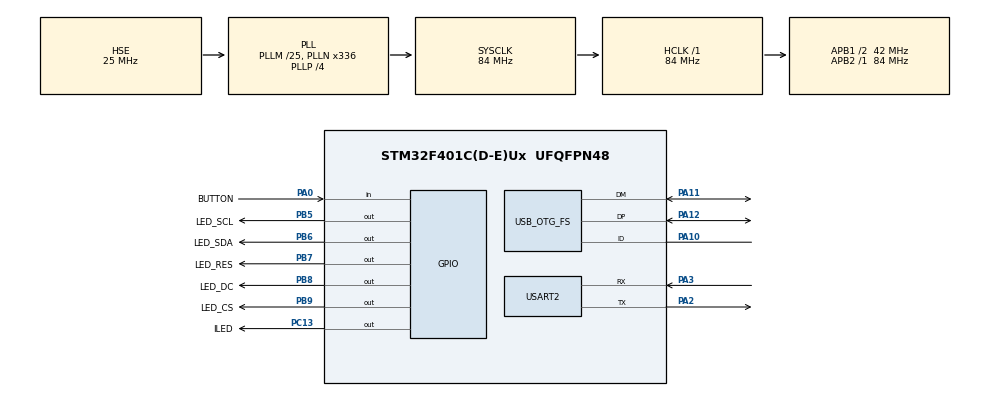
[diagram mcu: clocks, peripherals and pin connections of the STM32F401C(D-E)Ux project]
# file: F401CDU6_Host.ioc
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Dma.Request0=USART2_TX
Dma.Request1=USART2_RX
Dma.USART2_RX.1.Direction=DMA_PERIPH_TO_MEMORY
Dma.USART2_RX.1.FIFOMode=DMA_FIFOMODE_DISABLE
Dma.USART2_RX.1.Instance=DMA1_Stream5
Dma.USART2_RX.1.MemDataAlignment=DMA_MDATAALIGN_BYTE
Dma.USART2_RX.1.MemInc=DMA_MINC_ENABLE
Dma.USART2_RX.1.Mode=DMA_NORMAL
Dma.USART2_RX.1.PeriphDataAlignment=DMA_PDATAALIGN_BYTE
Dma.USART2_RX.1.PeriphInc=DMA_PINC_DISABLE
Dma.USART2_RX.1.Priority=DMA_PRIORITY_VERY_HIGH
Dma.USART2_TX.0.Direction=DMA_MEMORY_TO_PERIPH
Dma.USART2_TX.0.FIFOMode=DMA_FIFOMODE_DISABLE
Dma.USART2_TX.0.Instance=DMA1_Stream6
Dma.USART2_TX.0.MemDataAlignment=DMA_MDATAALIGN_BYTE
Dma.USART2_TX.0.MemInc=DMA_MINC_ENABLE
Dma.USART2_TX.0.Mode=DMA_NORMAL
Dma.USART2_TX.0.PeriphDataAlignment=DMA_PDATAALIGN_BYTE
Dma.USART2_TX.0.PeriphInc=DMA_PINC_DISABLE
Dma.USART2_TX.0.Priority=DMA_PRIORITY_VERY_HIGH
Mcu.Family=STM32F4
Mcu.Name=STM32F401C(D-E)Ux
Mcu.Package=UFQFPN48
NVIC.DMA1_Stream5_IRQn=true\:0\:0\:false\:false\:true\:false\:true\:true
NVIC.DMA1_Stream6_IRQn=true\:0\:0\:false\:false\:true\:false\:true\:true
NVIC.PriorityGroup=NVIC_PRIORITYGROUP_4
PA0-WKUP.GPIO_Label=BUTTON
PA0-WKUP.Signal=GPIO_Input
PA10.Mode=OTG/Dual_Role_Device
PA10.Signal=USB_OTG_FS_ID
PA11.Mode=OTG/Dual_Role_Device
PA11.Signal=USB_OTG_FS_DM
PA12.Mode=OTG/Dual_Role_Device
PA12.Signal=USB_OTG_FS_DP
PA13.Mode=Serial_Wire
PA13.Signal=SYS_JTMS-SWDIO
PA14.Mode=Serial_Wire
PA14.Signal=SYS_JTCK-SWCLK
PA2.Mode=Asynchronous
PA2.Signal=USART2_TX
PA3.Mode=Asynchronous
PA3.Signal=USART2_RX
PB5.GPIO_Label=LED_SCL
PB5.GPIO_Speed=GPIO_SPEED_FREQ_VERY_HIGH
PB5.Signal=GPIO_Output
PB6.GPIO_Label=LED_SDA
PB6.GPIO_Speed=GPIO_SPEED_FREQ_VERY_HIGH
PB6.Signal=GPIO_Output
PB7.GPIO_Label=LED_RES
PB7.GPIO_Speed=GPIO_SPEED_FREQ_VERY_HIGH
PB7.Signal=GPIO_Output
PB8.GPIO_Label=LED_DC
PB8.GPIO_Speed=GPIO_SPEED_FREQ_VERY_HIGH
PB8.Signal=GPIO_Output
PB9.GPIO_Label=LED_CS
PB9.GPIO_Speed=GPIO_SPEED_FREQ_VERY_HIGH
PB9.PinState=GPIO_PIN_RESET
PB9.Signal=GPIO_Output
PC13-ANTI_TAMP.GPIO_Label=ILED
PC13-ANTI_TAMP.GPIO_Speed=GPIO_SPEED_FREQ_LOW
PC13-ANTI_TAMP.PinState=GPIO_PIN_SET
PC13-ANTI_TAMP.Signal=GPIO_Output
PC14-OSC32_IN.Mode=LSE-External-Oscillator
PC14-OSC32_IN.Signal=RCC_OSC32_IN
PC15-OSC32_OUT.Mode=LSE-External-Oscillator
PC15-OSC32_OUT.Signal=RCC_OSC32_OUT
PH0\ -\ OSC_IN.Mode=HSE-External-Oscillator
PH0\ -\ OSC_IN.Signal=RCC_OSC_IN
PH1\ -\ OSC_OUT.Mode=HSE-External-Oscillator
PH1\ -\ OSC_OUT.Signal=RCC_OSC_OUT
ProjectManager.HeapSize=0x200
ProjectManager.StackSize=0x400
ProjectManager.TargetToolchain=STM32CubeIDE
RCC.48MHZClocksFreq_Value=48000000
RCC.AHBFreq_Value=84000000
RCC.APB1CLKDivider=RCC_HCLK_DIV2
RCC.APB1Freq_Value=42000000
RCC.APB1TimFreq_Value=84000000
RCC.APB2Freq_Value=84000000
RCC.APB2TimFreq_Value=84000000
RCC.CortexFreq_Value=84000000
RCC.HCLKFreq_Value=84000000
RCC.HSE_VALUE=25000000
RCC.HSI_VALUE=16000000
RCC.PLLM=25
RCC.PLLN=336
RCC.PLLP=RCC_PLLP_DIV4
RCC.PLLQ=7
RCC.SYSCLKFreq_VALUE=84000000
RCC.SYSCLKSource=RCC_SYSCLKSOURCE_PLLCLK
RCC.VCOOutputFreq_Value=336000000
USART2.VirtualMode=VM_ASYNC
VP_CRC_VS_CRC.Mode=CRC_Activate
board=custom

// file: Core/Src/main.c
/* USER CODE BEGIN Header */
/**
  ******************************************************************************
  * @file           : main.c
  * @brief          : Main program body
  ******************************************************************************
  * @attention
  *
  * Copyright (c) 2023 STMicroelectronics.
  * All rights reserved.
  *
  * This software is licensed under terms that can be found in the LICENSE file
  * in the root directory of this software component.
  * If no LICENSE file comes with this software, it is provided AS-IS.
  *
  ******************************************************************************
  */
/* USER CODE END Header */
#include "main.h"

/* USER CODE BEGIN Includes */
#include "OLED.h"
/* USER CODE END Includes */

/* USER CODE BEGIN PTD */
uint8_t* my_uart_redata={0,0,0,0,0,0,0,0};
/* USER CODE END PTD */

/* USER CODE BEGIN PD */
#define LED_OFF() HAL_GPIO_WritePin(ILED_GPIO_Port, ILED_Pin,GPIO_PIN_SET);
#define LED_ON() HAL_GPIO_WritePin(ILED_GPIO_Port, ILED_Pin,GPIO_PIN_RESET);
/* USER CODE END PD */

CRC_HandleTypeDef hcrc;

UART_HandleTypeDef huart2;
DMA_HandleTypeDef hdma_usart2_tx;
DMA_HandleTypeDef hdma_usart2_rx;

void SystemClock_Config(void);
static void MX_GPIO_Init(void);
static void MX_DMA_Init(void);
static void MX_CRC_Init(void);
static void MX_USB_OTG_FS_USB_Init(void);
static void MX_USART2_UART_Init(void);

int main(void)
{

  /* MCU Configuration--------------------------------------------------------*/

  /* Reset of all peripherals, Initializes the Flash interface and the Systick. */
  HAL_Init();

  /* Configure the system clock */
  SystemClock_Config();

  /* Initialize all configured peripherals */
  MX_GPIO_Init();
  MX_DMA_Init();
  MX_CRC_Init();
  MX_USB_OTG_FS_USB_Init();
  MX_USART2_UART_Init();
  /* USER CODE BEGIN 2 */
  OLED_Init();
  /* USER CODE END 2 */

  /* Infinite loop */
  /* USER CODE BEGIN WHILE */
  HAL_UART_Receive_DMA(&huart2,&my_uart_redata,1);
  OLED_ShowString(1, 1, "Init Complete");
  LED_ON();
  while (1)
  {
    /* USER CODE END WHILE */

  }
}

void SystemClock_Config(void)
{
  RCC_OscInitTypeDef RCC_OscInitStruct = {0};
  RCC_ClkInitTypeDef RCC_ClkInitStruct = {0};

  /** Configure the main internal regulator output voltage
  */
  __HAL_RCC_PWR_CLK_ENABLE();
  __HAL_PWR_VOLTAGESCALING_CONFIG(PWR_REGULATOR_VOLTAGE_SCALE2);

  /** Initializes the RCC Oscillators according to the specified parameters
  * in the RCC_OscInitTypeDef structure.
  */
  RCC_OscInitStruct.OscillatorType = RCC_OSCILLATORTYPE_HSE;
  RCC_OscInitStruct.HSEState = RCC_HSE_ON;
  RCC_OscInitStruct.PLL.PLLState = RCC_PLL_ON;
  RCC_OscInitStruct.PLL.PLLSource = RCC_PLLSOURCE_HSE;
  RCC_OscInitStruct.PLL.PLLM = 25;
  RCC_OscInitStruct.PLL.PLLN = 336;
  RCC_OscInitStruct.PLL.PLLP = RCC_PLLP_DIV4;
  RCC_OscInitStruct.PLL.PLLQ = 7;
  if (HAL_RCC_OscConfig(&RCC_OscInitStruct) != HAL_OK)
  {
    Error_Handler();
  }

  /** Initializes the CPU, AHB and APB buses clocks
  */
  RCC_ClkInitStruct.ClockType = RCC_CLOCKTYPE_HCLK|RCC_CLOCKTYPE_SYSCLK
                              |RCC_CLOCKTYPE_PCLK1|RCC_CLOCKTYPE_PCLK2;
  RCC_ClkInitStruct.SYSCLKSource = RCC_SYSCLKSOURCE_PLLCLK;
  RCC_ClkInitStruct.AHBCLKDivider = RCC_SYSCLK_DIV1;
  RCC_ClkInitStruct.APB1CLKDivider = RCC_HCLK_DIV2;
  RCC_ClkInitStruct.APB2CLKDivider = RCC_HCLK_DIV1;

  if (HAL_RCC_ClockConfig(&RCC_ClkInitStruct, FLASH_LATENCY_2) != HAL_OK)
  {
    Error_Handler();
  }
}

static void MX_CRC_Init(void)
{

  hcrc.Instance = CRC;
  if (HAL_CRC_Init(&hcrc) != HAL_OK)
  {
    Error_Handler();
  }

}

static void MX_USART2_UART_Init(void)
{

  huart2.Instance = USART2;
  huart2.Init.BaudRate = 115200;
  huart2.Init.WordLength = UART_WORDLENGTH_8B;
  huart2.Init.StopBits = UART_STOPBITS_1;
  huart2.Init.Parity = UART_PARITY_NONE;
  huart2.Init.Mode = UART_MODE_TX_RX;
  huart2.Init.HwFlowCtl = UART_HWCONTROL_NONE;
  huart2.Init.OverSampling = UART_OVERSAMPLING_16;
  if (HAL_UART_Init(&huart2) != HAL_OK)
  {
    Error_Handler();
  }

}

static void MX_USB_OTG_FS_USB_Init(void)
{

}

static void MX_DMA_Init(void)
{

  /* DMA controller clock enable */
  __HAL_RCC_DMA1_CLK_ENABLE();

  /* DMA interrupt init */
  /* DMA1_Stream5_IRQn interrupt configuration */
  HAL_NVIC_SetPriority(DMA1_Stream5_IRQn, 0, 0);
  HAL_NVIC_EnableIRQ(DMA1_Stream5_IRQn);
  /* DMA1_Stream6_IRQn interrupt configuration */
  HAL_NVIC_SetPriority(DMA1_Stream6_IRQn, 0, 0);
  HAL_NVIC_EnableIRQ(DMA1_Stream6_IRQn);

}

static void MX_GPIO_Init(void)
{
  GPIO_InitTypeDef GPIO_InitStruct = {0};

  /* GPIO Ports Clock Enable */
  __HAL_RCC_GPIOC_CLK_ENABLE();
  __HAL_RCC_GPIOH_CLK_ENABLE();
  __HAL_RCC_GPIOA_CLK_ENABLE();
  __HAL_RCC_GPIOB_CLK_ENABLE();

  /*Configure GPIO pin Output Level */
  HAL_GPIO_WritePin(ILED_GPIO_Port, ILED_Pin, GPIO_PIN_SET);

  /*Configure GPIO pin Output Level */
  HAL_GPIO_WritePin(GPIOB, LED_SCL_Pin|LED_SDA_Pin|LED_RES_Pin|LED_DC_Pin
                          |LED_CS_Pin, GPIO_PIN_RESET);

  /*Configure GPIO pin : ILED_Pin */
  GPIO_InitStruct.Pin = ILED_Pin;
  GPIO_InitStruct.Mode = GPIO_MODE_OUTPUT_PP;
  GPIO_InitStruct.Pull = GPIO_NOPULL;
  GPIO_InitStruct.Speed = GPIO_SPEED_FREQ_LOW;
  HAL_GPIO_Init(ILED_GPIO_Port, &GPIO_InitStruct);

  /*Configure GPIO pin : BUTTON_Pin */
  GPIO_InitStruct.Pin = BUTTON_Pin;
  GPIO_InitStruct.Mode = GPIO_MODE_INPUT;
  GPIO_InitStruct.Pull = GPIO_NOPULL;
  HAL_GPIO_Init(BUTTON_GPIO_Port, &GPIO_InitStruct);

  /*Configure GPIO pins : PA10 PA11 PA12 */
  GPIO_InitStruct.Pin = GPIO_PIN_10|GPIO_PIN_11|GPIO_PIN_12;
  GPIO_InitStruct.Mode = GPIO_MODE_AF_PP;
  GPIO_InitStruct.Pull = GPIO_NOPULL;
  GPIO_InitStruct.Speed = GPIO_SPEED_FREQ_VERY_HIGH;
  GPIO_InitStruct.Alternate = GPIO_AF10_OTG_FS;
  HAL_GPIO_Init(GPIOA, &GPIO_InitStruct);

  /*Configure GPIO pins : LED_SCL_Pin LED_SDA_Pin LED_RES_Pin LED_DC_Pin
                           LED_CS_Pin */
  GPIO_InitStruct.Pin = LED_SCL_Pin|LED_SDA_Pin|LED_RES_Pin|LED_DC_Pin
                          |LED_CS_Pin;
  GPIO_InitStruct.Mode = GPIO_MODE_OUTPUT_PP;
  GPIO_InitStruct.Pull = GPIO_NOPULL;
  GPIO_InitStruct.Speed = GPIO_SPEED_FREQ_VERY_HIGH;
  HAL_GPIO_Init(GPIOB, &GPIO_InitStruct);

}

/* USER CODE BEGIN 4 */
void HAL_UART_RxCpltCallback(UART_HandleTypeDef *huart){
    //if(huart->Instance == USART2)
    //{
    	LED_ON();
    	OLED_ShowString(2, 1, "RECV:");
    	OLED_ShowString(3, 1, (uint8_t*)&my_uart_redata);
    	u_send("OK\r\n");
    	OLED_ShowString(2, 1, "SEND->");
    	LED_OFF();
    //}
}

void u_send(uint8_t *tdata){
	while(HAL_DMA_GetState(&hdma_usart2_tx) == HAL_DMA_STATE_BUSY) HAL_Delay(1);
	HAL_UART_Transmit_DMA(&huart2, tdata, sizeof(tdata)/sizeof(tdata[0]));
}
/* USER CODE END 4 */

void Error_Handler(void)
{
  __disable_irq();
  while (1)
  {
  }
}
